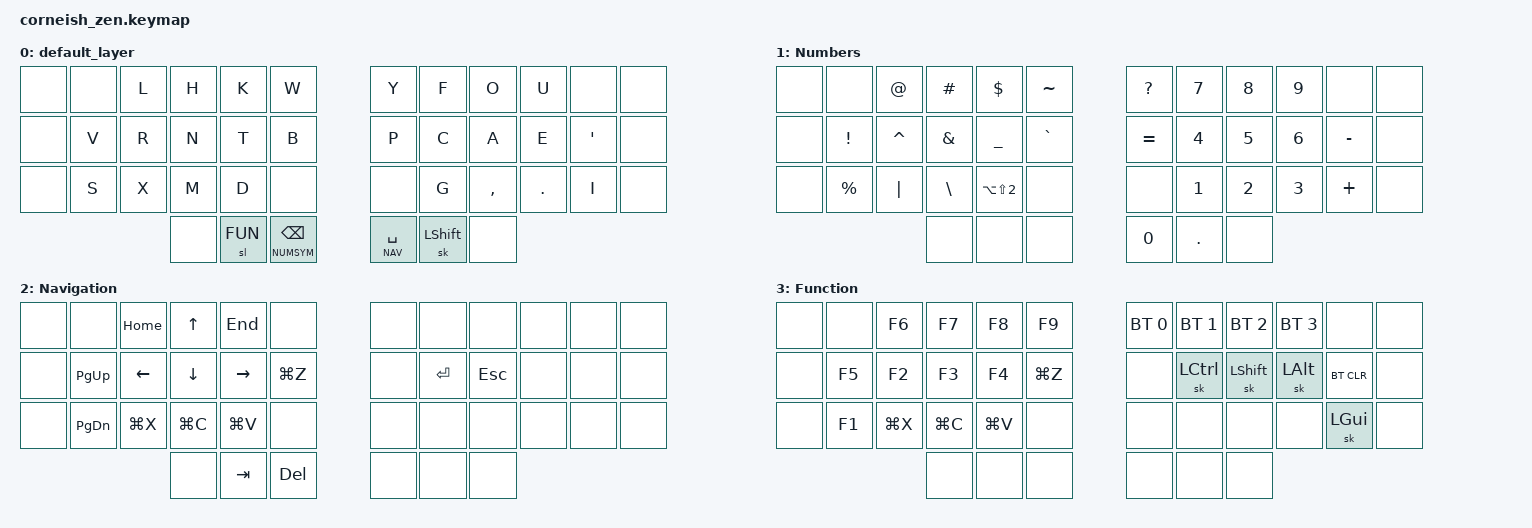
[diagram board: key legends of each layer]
/*
*
* Copyright (c) 2021 Darryl deHaan
* SPDX-License-Identifier: MIT
*
*/

#include <behaviors.dtsi>
#include <dt-bindings/zmk/bt.h>
#include <dt-bindings/zmk/keys.h>

#define combo_timeout 50

// layer definitions
#define DEF 0
#define NUMSYM 1
#define NAV 2
#define FUN 3

/ {
  chosen {
    zmk,matrix_transform = &default_transform;
    //zmk,matrix_transform = &five_column_transform;
  };
};

&lt {
    quick-tap-ms = <175>;
};

/ {
    combos {
        compatible = "zmk,combos";
        combo_z {
            timeout-ms = <combo_timeout>;
            key-positions = <26 27>;
            bindings = <&kp Z>;
            layers = <DEF>;
        };
        combo_j {
            timeout-ms = <combo_timeout>;
            key-positions = <3 4>;
            bindings = <&kp J>;
            layers = <DEF>;
        };
        combo_q {
            timeout-ms = <combo_timeout>;
            key-positions = <7 8>;
            bindings = <&kp Q>;
            layers = <DEF>;
        };
        combo_lparens {
            timeout-ms = <combo_timeout>;
            key-positions = <15 16>;
            bindings = <&kp LEFT_PARENTHESIS>;
            layers = <DEF>;
        };
        combo_rparens {
            timeout-ms = <combo_timeout>;
            key-positions = <19 20>;
            bindings = <&kp RIGHT_PARENTHESIS>;
            layers = <DEF>;
        };
        combo_lbracket {
            timeout-ms = <combo_timeout>;
            key-positions = <14 15>;
            bindings = <&kp LEFT_BRACKET>;
            layers = <DEF>;
        };
        combo_rbracket {
            timeout-ms = <combo_timeout>;
            key-positions = <20 21>;
            bindings = <&kp RIGHT_BRACKET>;
            layers = <DEF>;
        };
        combo_lbrace {
            timeout-ms = <combo_timeout>;
            key-positions = <27 28>;
            bindings = <&kp LEFT_BRACE>;
            layers = <DEF>;
        };
        combo_rbrace {
            timeout-ms = <combo_timeout>;
            key-positions = <31 32>;
            bindings = <&kp RIGHT_BRACE>;
            layers = <DEF>;
        };
        combo_semicolon {
            timeout-ms = <combo_timeout>;
            key-positions = <32 33>;
            bindings = <&kp SEMICOLON>;
            layers = <DEF>;
        };
        combo_divide {
            timeout-ms = <combo_timeout>;
            key-positions = <7 8>;
            bindings = <&kp KP_DIVIDE>;
            layers = <NUMSYM>;
        };
        combo_asterisk {
            timeout-ms = <combo_timeout>;
            key-positions = <8 9>;
            bindings = <&kp ASTERISK>;
            layers = <NUMSYM>;
        };
        combo_capslock {
            timeout-ms = <combo_timeout>;
            key-positions = <16 19>;
            bindings = <&kp CAPS>;
            layers = <DEF>;
        };
    };

    keymap {
        compatible = "zmk,keymap";

        default_layer {
            bindings = <
                &none   &none   &kp L   &kp H   &kp K     &kp W                &kp Y           &kp F       &kp O       &kp U     &none     &none
                &none   &kp V   &kp R   &kp N   &kp T     &kp B                &kp P           &kp C       &kp A       &kp E     &kp SQT   &none
                &none   &kp S   &kp X   &kp M   &kp D     &none                &none           &kp G       &kp COMMA   &kp DOT   &kp I     &none
                                        &none   &sl FUN   &lt NUMSYM BSPC      &lt NAV SPACE   &sk LSHFT   &none
            >;
        };

        Numbers {
            bindings = <
                &none   &none       &kp AT      &kp HASH   &kp DLLR        &kp TILDE      &kp QMARK   &kp N7    &kp N8   &kp N9   &none       &none
                &none   &kp EXCL    &kp CARET   &kp AMPS   &kp UNDER       &kp GRAVE      &kp EQUAL   &kp N4    &kp N5   &kp N6   &kp MINUS   &none
                &none   &kp PRCNT   &kp PIPE    &kp BSLH   &kp LA(LS(2))   &none          &none       &kp N1    &kp N2   &kp N3   &kp PLUS    &none
                                                &none      &none           &none          &kp N0      &kp DOT   &none
            >;
        };

        Navigation {
            bindings = <
                &none   &none       &kp HOME    &kp UP      &kp END     &none          &none   &none       &none     &none   &none   &none
                &none   &kp PG_UP   &kp LEFT    &kp DOWN    &kp RIGHT   &kp LG(Z)      &none   &kp ENTER   &kp ESC   &none   &none   &none
                &none   &kp PG_DN   &kp LG(X)   &kp LG(C)   &kp LG(V)   &none          &none   &none       &none     &none   &none   &none
                                                &none       &kp TAB     &kp DEL        &none   &none       &none
            >;
        };

        Function {
            bindings = <
                &none   &none    &kp F6      &kp F7      &kp F8      &kp F9         &bt BT_SEL 0   &bt BT_SEL 1   &bt BT_SEL 2   &bt BT_SEL 3   &none        &none  
                &none   &kp F5   &kp F2      &kp F3      &kp F4      &kp LG(Z)      &none          &sk LCTRL      &sk LSHFT      &sk LALT       &bt BT_CLR   &none
                &none   &kp F1   &kp LG(X)   &kp LG(C)   &kp LG(V)   &none          &none          &none          &none          &none          &sk LGUI     &none
                                             &none       &none       &none          &none          &none          &none
            >;    
        };
    };
};
